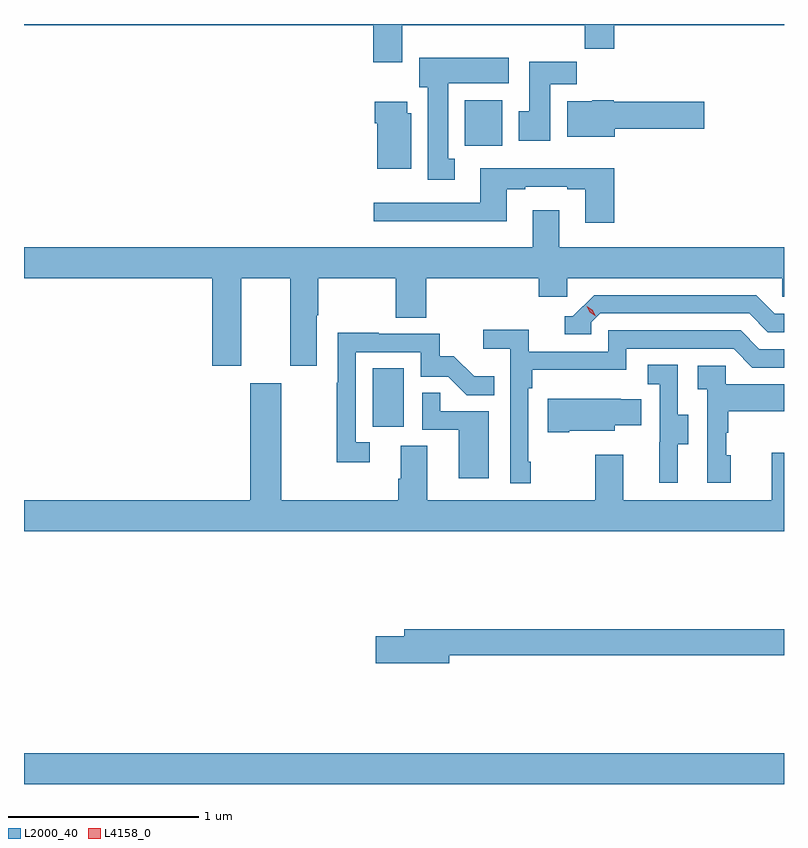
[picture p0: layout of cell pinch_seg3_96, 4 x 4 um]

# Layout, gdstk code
import gdstk
lib = gdstk.Library(unit=1e-6, precision=1e-09)
def R(c, l, rs):  # rectangles x0, y0, x1, y1
    for r in rs: c.add(gdstk.rectangle(r[:2], r[2:], *l))
def P(c, l, *ps):  # polygons
    for p in ps: c.add(gdstk.Polygon(p, *l))
L2000_40 = (2000, 40)
L4158_0 = (4158, 0)

pinch_seg3_96 = lib.new_cell('pinch_seg3_96')
R(pinch_seg3_96, L2000_40, [(1077.903,722.23,1081.903,722.392), (1079.738,724.11,1079.902,724.417), (1080.224,725.588,1080.421,725.83)])
P(pinch_seg3_96, L2000_40, [(1079.893,726.224),(1080.853,726.224),(1080.853,726.1),(1081.01,726.1),(1081.01,726.224),(1081.903,726.224),(1081.903,726.23),(1077.903,726.23),(1077.903,726.224),(1079.741,726.224),(1079.741,726.03),(1079.893,726.03)],
  [(1080.169,725.522),(1080.136,725.522),(1080.136,725.918),(1080.454,725.918),(1080.454,726.052),(1079.984,726.052),(1079.984,725.898),(1080.029,725.898),(1080.029,725.409),(1080.169,725.409)],
  [(1080.673,725.912),(1080.812,725.912),(1080.812,726.031),(1080.563,726.031),(1080.563,725.772),(1080.506,725.772),(1080.506,725.616),(1080.673,725.616)],
  [(1081.012,725.678),(1081.483,725.678),(1081.483,725.82),(1081.008,725.82),(1081.008,725.83),(1080.894,725.83),(1080.894,725.824),(1080.761,725.824),(1080.761,725.636),(1081.012,725.636)],
  [(1079.941,725.76),(1079.92,725.76),(1079.92,725.821),(1079.75,725.821),(1079.75,725.708),(1079.762,725.708),(1079.762,725.468),(1079.941,725.468)],
  [(1081.01,725.47),(1080.305,725.47),(1080.305,725.289),(1079.745,725.289),(1079.745,725.192),(1080.445,725.192),(1080.445,725.361),(1080.541,725.361),(1080.541,725.373),(1080.761,725.373),(1080.761,725.361),(1080.857,725.361),(1080.857,725.184),(1081.01,725.184)],
  [(1080.611,724.794),(1080.762,724.794),(1080.762,724.892),(1081.893,724.892),(1081.893,724.794),(1081.903,724.794),(1081.903,725.056),(1080.721,725.056),(1080.721,725.251),(1080.581,725.251),(1080.581,725.056),(1077.903,725.056),(1077.903,724.892),(1078.895,724.892),(1078.895,724.431),(1079.047,724.431),(1079.047,724.892),(1079.303,724.892),(1079.303,724.431),(1079.443,724.431),(1079.443,724.696),(1079.451,724.696),(1079.451,724.892),(1079.86,724.892),(1079.86,724.684),(1080.02,724.684),(1080.02,724.892),(1080.611,724.892)],
  [(1080.888,724.659),(1080.936,724.707),(1081.719,724.707),(1081.818,724.608),(1081.903,724.608),(1081.903,724.704),(1081.855,724.704),(1081.756,724.803),(1080.903,724.803),(1080.792,724.692),(1080.749,724.692),(1080.749,724.596),(1080.888,724.596)],
  [(1080.571,723.925),(1080.558,723.925),(1080.558,724.313),(1080.578,724.313),(1080.578,724.409),(1081.074,724.409),(1081.074,724.521),(1081.638,724.521),(1081.737,724.422),(1081.903,724.422),(1081.903,724.518),(1081.774,724.518),(1081.675,724.617),(1080.978,724.617),(1080.978,724.506),(1080.56,724.506),(1080.56,724.622),(1080.321,724.622),(1080.321,724.52),(1080.462,724.52),(1080.462,723.813),(1080.571,723.813)],
  [(1079.722,724.029),(1079.649,724.029),(1079.649,724.503),(1079.991,724.503),(1079.991,724.374),(1080.135,724.374),(1080.233,724.276),(1080.377,724.276),(1080.377,724.375),(1080.273,724.375),(1080.166,724.482),(1080.09,724.482),(1080.09,724.599),(1079.771,724.599),(1079.771,724.604),(1079.553,724.604),(1079.553,724.343),(1079.548,724.343),(1079.548,723.924),(1079.722,723.924)],
  [(1081.345,724.018),(1081.399,724.018),(1081.399,724.173),(1081.344,724.173),(1081.344,724.436),(1081.185,724.436),(1081.185,724.333),(1081.248,724.333),(1081.248,724.029),(1081.247,724.029),(1081.247,723.816),(1081.345,723.816)],
  [(1081.624,723.96),(1081.599,723.96),(1081.599,724.079),(1081.609,724.079),(1081.609,724.193),(1081.903,724.193),(1081.903,724.333),(1081.596,724.333),(1081.596,724.431),(1081.449,724.431),(1081.449,724.307),(1081.5,724.307),(1081.5,723.816),(1081.624,723.816)],
  [(1081.903,723.973),(1081.838,723.973),(1081.838,723.724),(1081.057,723.724),(1081.057,723.964),(1080.91,723.964),(1080.91,723.724),(1080.025,723.724),(1080.025,724.01),(1079.885,724.01),(1079.885,723.836),(1079.873,723.836),(1079.873,723.724),(1079.257,723.724),(1079.257,724.339),(1079.093,724.339),(1079.093,723.724),(1077.903,723.724),(1077.903,723.56),(1081.903,723.56)],
  [(1080.349,724.191),(1080.095,724.191),(1080.095,724.289),(1080,724.289),(1080,724.095),(1080.191,724.095),(1080.191,723.84),(1080.349,723.84)],
  [(1080.772,724.088),(1081.012,724.088),(1081.012,724.118),(1081.151,724.118),(1081.151,724.255),(1081.043,724.255),(1081.043,724.258),(1080.66,724.258),(1080.66,724.081),(1080.772,724.081)],
  [(1080.142,722.908),(1081.903,722.908),(1081.903,723.044),(1079.903,723.044),(1079.903,723.008),(1079.754,723.008),(1079.754,722.866),(1080.142,722.866)])
P(pinch_seg3_96, L4158_0, [(1080.911,724.692),(1080.88,724.712),(1080.864,724.744),(1080.864,724.744),(1080.864,724.744),(1080.895,724.725),(1080.912,724.693),(1080.912,724.692)])

lib.write_gds('pinch_seg3_96.gds')
